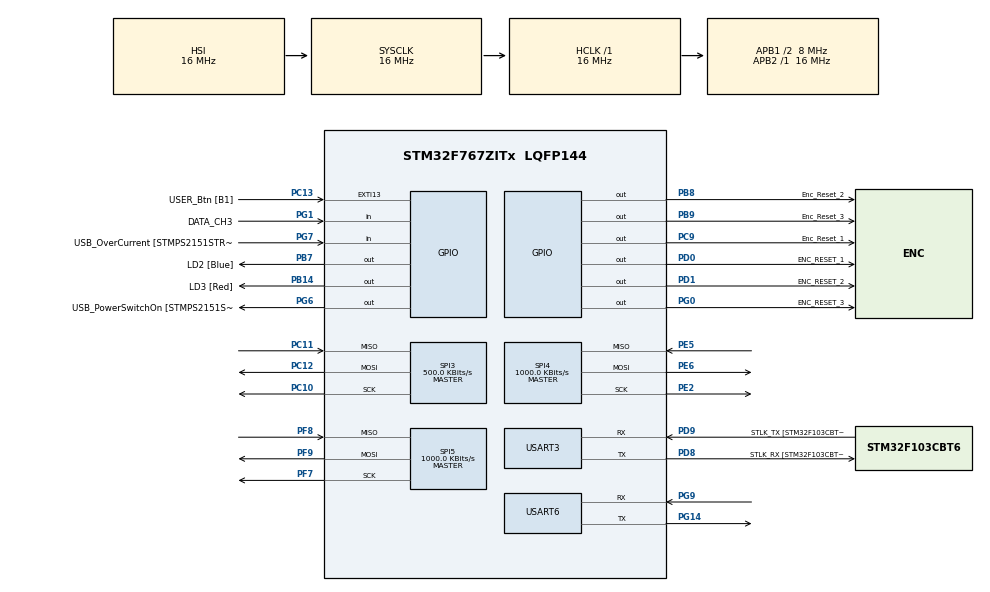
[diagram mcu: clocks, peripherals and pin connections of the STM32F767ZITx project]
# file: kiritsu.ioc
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Mcu.Family=STM32F7
Mcu.Name=STM32F767ZITx
Mcu.Package=LQFP144
NVIC.EXTI15_10_IRQn=true\:0\:0\:false\:false\:true\:true\:true
NVIC.PriorityGroup=NVIC_PRIORITYGROUP_4
NVIC.SPI3_IRQn=true\:0\:0\:false\:false\:true\:true\:true
NVIC.SPI4_IRQn=true\:0\:0\:false\:false\:true\:true\:true
NVIC.SPI5_IRQn=true\:0\:0\:false\:false\:true\:true\:true
NVIC.TIM3_IRQn=true\:0\:0\:false\:false\:true\:true\:true
NVIC.TIM4_IRQn=true\:0\:0\:false\:false\:true\:true\:true
NVIC.USART3_IRQn=true\:0\:0\:false\:false\:true\:true\:true
NVIC.USART6_IRQn=true\:0\:0\:false\:false\:true\:true\:true
PA1.GPIO_Label=RMII_REF_CLK [LAN8742A-CZ-TR_REFCLK0]
PA1.Signal=ETH_REF_CLK
PA10.GPIO_Label=USB_ID
PA10.Signal=USB_OTG_FS_ID
PA11.GPIO_Label=USB_DM
PA11.Signal=USB_OTG_FS_DM
PA12.GPIO_Label=USB_DP
PA12.Signal=USB_OTG_FS_DP
PA13.GPIO_Label=TMS
PA13.Mode=Serial_Wire
PA13.Signal=SYS_JTMS-SWDIO
PA14.GPIO_Label=TCK
PA14.Mode=Serial_Wire
PA14.Signal=SYS_JTCK-SWCLK
PA2.GPIO_Label=RMII_MDIO [LAN8742A-CZ-TR_MDIO]
PA2.Signal=ETH_MDIO
PA7.GPIO_Label=RMII_CRS_DV [LAN8742A-CZ-TR_CRS_DV]
PA7.Signal=ETH_CRS_DV
PA8.GPIO_Label=USB_SOF [TP1]
PA8.Signal=USB_OTG_FS_SOF
PA9.GPIO_Label=USB_VBUS
PA9.Signal=USB_OTG_FS_VBUS
PB13.GPIO_Label=RMII_TXD1 [LAN8742A-CZ-TR_TXD1]
PB13.Signal=ETH_TXD1
PB14.GPIO_Label=LD3 [Red]
PB14.Signal=GPIO_Output
PB3.GPIO_Label=SW0
PB3.Signal=SYS_JTDO-SWO
PB7.GPIO_Label=LD2 [Blue]
PB7.Signal=GPIO_Output
PB8.GPIO_Label=Enc_Reset_2
PB8.PinState=GPIO_PIN_SET
PB8.Signal=GPIO_Output
PB9.GPIO_Label=Enc_Reset_3
PB9.Signal=GPIO_Output
PC1.GPIO_Label=RMII_MDC [LAN8742A-CZ-TR_MDC]
PC1.Signal=ETH_MDC
PC10.Mode=Full_Duplex_Master
PC10.Signal=SPI3_SCK
PC11.Mode=Full_Duplex_Master
PC11.Signal=SPI3_MISO
PC12.Mode=Full_Duplex_Master
PC12.Signal=SPI3_MOSI
PC13.GPIO_Label=USER_Btn [B1]
PC13.Signal=GPXTI13
PC14/OSC32_IN.Signal=RCC_OSC32_IN
PC15/OSC32_OUT.Signal=RCC_OSC32_OUT
PC4.GPIO_Label=RMII_RXD0 [LAN8742A-CZ-TR_RXD0]
PC4.Signal=ETH_RXD0
PC5.GPIO_Label=RMII_RXD1 [LAN8742A-CZ-TR_RXD1]
PC5.Signal=ETH_RXD1
PC9.GPIO_Label=Enc_Reset_1
PC9.PinState=GPIO_PIN_SET
PC9.Signal=GPIO_Output
PD0.GPIO_Label=ENC_RESET_1
PD0.PinState=GPIO_PIN_SET
PD0.Signal=GPIO_Output
PD1.GPIO_Label=ENC_RESET_2
PD1.PinState=GPIO_PIN_SET
PD1.Signal=GPIO_Output
PD8.GPIO_Label=STLK_RX [STM32F103CBT6_PA3]
PD8.Mode=Asynchronous
PD8.Signal=USART3_TX
PD9.GPIO_Label=STLK_TX [STM32F103CBT6_PA2]
PD9.Mode=Asynchronous
PD9.Signal=USART3_RX
PE2.Mode=Full_Duplex_Master
PE2.Signal=SPI4_SCK
PE5.Mode=Full_Duplex_Master
PE5.Signal=SPI4_MISO
PE6.Mode=Full_Duplex_Master
PE6.Signal=SPI4_MOSI
PF7.Mode=Full_Duplex_Master
PF7.Signal=SPI5_SCK
PF8.Mode=Full_Duplex_Master
PF8.Signal=SPI5_MISO
PF9.Mode=Full_Duplex_Master
PF9.Signal=SPI5_MOSI
PG0.GPIO_Label=ENC_RESET_3
PG0.PinState=GPIO_PIN_SET
PG0.Signal=GPIO_Output
PG1.GPIO_Label=DATA_CH3
PG1.Signal=GPIO_Input
PG11.GPIO_Label=RMII_TX_EN [LAN8742A-CZ-TR_TXEN]
PG11.Signal=ETH_TX_EN
PG13.GPIO_Label=RMII_TXD0 [LAN8742A-CZ-TR_TXD0]
PG13.Signal=ETH_TXD0
PG14.Mode=Asynchronous
PG14.Signal=USART6_TX
PG6.GPIO_Label=USB_PowerSwitchOn [STMPS2151STR_EN]
PG6.Signal=GPIO_Output
PG7.GPIO_Label=USB_OverCurrent [STMPS2151STR_FAULT]
PG7.Signal=GPIO_Input
PG9.Mode=Asynchronous
PG9.Signal=USART6_RX
PH0/OSC_IN.GPIO_Label=MCO [STM32F103CBT6_PA8]
PH0/OSC_IN.Signal=RCC_OSC_IN
PH1/OSC_OUT.Signal=RCC_OSC_OUT
ProjectManager.HeapSize=0x200
ProjectManager.StackSize=0x400
ProjectManager.TargetToolchain=SW4STM32
RCC.48MHZClocksFreq_Value=24000000
RCC.AHBFreq_Value=16000000
RCC.APB1CLKDivider=RCC_HCLK_DIV2
RCC.APB1Freq_Value=8000000
RCC.APB1TimFreq_Value=16000000
RCC.APB2Freq_Value=16000000
RCC.APB2TimFreq_Value=16000000
RCC.CortexFreq_Value=16000000
RCC.HCLKFreq_Value=16000000
RCC.HSE_VALUE=16000000
RCC.HSI_VALUE=16000000
RCC.LSE_VALUE=32768
RCC.PLLMUL=RCC_PLL_MUL9
RCC.PRESCALERUSB=RCC_USBCLKSOURCE_PLL_DIV1_5
RCC.SYSCLKFreq_VALUE=16000000
RCC.SYSCLKSourceVirtual=RCC_SYSCLKSOURCE_PLLCLK
RCC.USBFreq_Value=96000000
RCC.VCOOutputFreq_Value=192000000
SPI3.BaudRatePrescaler=SPI_BAUDRATEPRESCALER_16
SPI3.CLKPhase=SPI_PHASE_2EDGE
SPI3.CLKPolarity=SPI_POLARITY_HIGH
SPI3.CalculateBaudRate=500.0 KBits/s
SPI3.DataSize=SPI_DATASIZE_8BIT
SPI3.Direction=SPI_DIRECTION_2LINES
SPI3.Mode=SPI_MODE_MASTER
SPI3.VirtualType=VM_MASTER
SPI4.BaudRatePrescaler=SPI_BAUDRATEPRESCALER_16
SPI4.CLKPhase=SPI_PHASE_2EDGE
SPI4.CLKPolarity=SPI_POLARITY_HIGH
SPI4.CalculateBaudRate=1000.0 KBits/s
SPI4.DataSize=SPI_DATASIZE_8BIT
SPI4.Direction=SPI_DIRECTION_2LINES
SPI4.Mode=SPI_MODE_MASTER
SPI4.VirtualType=VM_MASTER
SPI5.BaudRatePrescaler=SPI_BAUDRATEPRESCALER_16
SPI5.CLKPhase=SPI_PHASE_2EDGE
SPI5.CLKPolarity=SPI_POLARITY_HIGH
SPI5.CalculateBaudRate=1000.0 KBits/s
SPI5.DataSize=SPI_DATASIZE_8BIT
SPI5.Direction=SPI_DIRECTION_2LINES
SPI5.Mode=SPI_MODE_MASTER
SPI5.VirtualType=VM_MASTER
TIM3.Period=1000
TIM3.Prescaler=15999
TIM4.AutoReloadPreload=TIM_AUTORELOAD_PRELOAD_ENABLE
TIM4.Period=2000
TIM4.Prescaler=15999
USART3.VirtualMode-Asynchronous=VM_ASYNC
USART3.WordLength=WORDLENGTH_8B
USART6.VirtualMode-Asynchronous=VM_ASYNC
USART6.WordLength=WORDLENGTH_8B
VP_TIM3_VS_ClockSourceINT.Mode=Internal
VP_TIM4_VS_ClockSourceINT.Mode=Internal
board=NUCLEO-F767ZI

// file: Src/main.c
/* USER CODE BEGIN Header */
/**
  ******************************************************************************
  * @file           : main.c
  * @brief          : Main program body
  ******************************************************************************
  * @attention
  *
  * <h2><center>&copy; Copyright (c) 2019 STMicroelectronics.
  * All rights reserved.</center></h2>
  *
  * This software component is licensed by ST under BSD 3-Clause license,
  * the "License"; You may not use this file except in compliance with the
  * License. You may obtain a copy of the License at:
  *                        opensource.org/licenses/BSD-3-Clause
  *
  ******************************************************************************
  */
/* USER CODE END Header */

#include "main.h"

/* USER CODE BEGIN Includes */
#include <string.h> // strlen
#include <stdlib.h>  // atoi
#include <stdio.h>  // sprintf
#include <math.h>   // sin\cos
/* USER CODE END Includes */

/* USER CODE BEGIN PTD */
typedef enum {
  DATA_FRAME_12 = 12,
  DATA_FRAME_9 = 9,
  DATA_FRAME_BOTH = 0,
  DATA_FRAME_INVALID
} eDATA_FRAME_t;

/* USER CODE END PTD */

/* USER CODE BEGIN PD */
#define DSPACE_USART        USART6
#define TERMINAL_USART      USART3
#define dSpace_huart        huart6
#define terminal_huart      huart3

#define enc1_hspi           hspi4
#define enc2_hspi           hspi3
#define enc3_hspi           hspi5

#define htimer_1s           htim3
#define htimer_2s           htim4

#define MY_PRINT_0(buffer, pString) \
    do {\
        sprintf(buffer, pString);\
        HAL_UART_Transmit(&terminal_huart, (uint8_t *) buffer, strlen(buffer), 5000);\
    } while (0);

#define MY_PRINT_F(buffer, format, ...) \
    do {\
        sprintf(buffer, format, __VA_ARGS__);\
        HAL_UART_Transmit(&terminal_huart, (uint8_t *) buffer, strlen(buffer), 5000);\
    } while (0);

/* USER CODE END PD */

SPI_HandleTypeDef hspi3;
SPI_HandleTypeDef hspi4;
SPI_HandleTypeDef hspi5;

TIM_HandleTypeDef htim3;
TIM_HandleTypeDef htim4;

UART_HandleTypeDef huart3;
UART_HandleTypeDef huart6;

/* USER CODE BEGIN PV */
/* Private variables ---------------------------------------------------------*/

static char buffer[1024];
uint8_t buffer_tx[10] = {69, 77, 67, 85, 46, 69, 85, 13, 10};
volatile uint8_t buffer_rx[2048];
uint8_t received_data, received_data_from_dspace;
volatile uint8_t received_buffer_size = 0;
volatile uint8_t command_handler_request = 0; // 0=NO, 1=Process

volatile int8_t led3_blink = -1;      // 0=OFF, 1=blink, 2=ON
volatile uint8_t dSpace_Alive = 1;    // =0, dSpace is alive, !=0, dSpace is disconnected
volatile uint8_t dSpace_req_data = 0; // =0, dSpace not request data, =1, dSpace requested for data

// Configuration - Variables
uint8_t b_encoder_1_enable = 1;
uint8_t b_encoder_2_enable = 1;
uint8_t b_encoder_3_enable = 1;
uint8_t b_mcu_dspace_enable = 1;
uint8_t b_mcu_pc_terminal_enable = 0;
uint8_t b_setting_mode = 0;
eDATA_FRAME_t data_frame_mcu2termial = DATA_FRAME_9;
int32_t b_frequency_ms = 0;

/* USER CODE END PV */

void SystemClock_Config(void);
static void MX_GPIO_Init(void);
static void MX_SPI3_Init(void);
static void MX_SPI4_Init(void);
static void MX_SPI5_Init(void);
static void MX_USART3_UART_Init(void);
static void MX_USART6_UART_Init(void);
static void MX_TIM3_Init(void);
static void MX_TIM4_Init(void);
/* USER CODE BEGIN PFP */
/* Private function prototypes -----------------------------------------------*/

uint32_t Read_SSI_SPIx(SPI_HandleTypeDef *hspi);
uint32_t raw_data[3];              // Raw-Data of Encoders

// Convert raw_data to an array of byte before sending via USART
int Cal_EncoderData(eDATA_FRAME_t data_frame, uint32_t raw_data[3],
    uint8_t *array_data, int32_t angle_data[3]);

uint8_t array_data[13];            // maximum 13-byte array of data
int32_t angle_data[3];             // angle in degree - scaled 1000x

void Generate_CRCTable();          // make a look-up table of 1-byte CRC
uint8_t crc_table[256];            // CRC look-up table

uint8_t CRCChecksum(uint8_t *data, uint8_t data_len);
uint8_t CRC_Cal = 0;               // Computed CRC

void Cmd_Handler();                // to handle receiption of data to come
void CommandDecoder();             // when a compelete command has been received, this func is to decode it!

/* USER CODE END PFP */

/* USER CODE BEGIN 0 */
// BUTTON Press Interrupt Handler
void HAL_GPIO_EXTI_Callback(uint16_t GPIO_Pin)
{
  if (GPIO_Pin == GPIO_PIN_13)
  {// the RESET button is pressed, it's gonna reset the encode position!
    // To tell the terminal what is gonna to happen
    MY_PRINT_0(buffer, "the RESET buttun is pressed, it's gonna reset the encode position!\n");

    HAL_GPIO_WritePin(LD2_GPIO_Port, LD2_Pin, GPIO_PIN_RESET);   // TURN OFF LED-2

    HAL_GPIO_WritePin(Enc_Reset_1_GPIO_Port, Enc_Reset_1_Pin, GPIO_PIN_SET);
    HAL_GPIO_WritePin(Enc_Reset_2_GPIO_Port, Enc_Reset_2_Pin, GPIO_PIN_SET);
    HAL_GPIO_WritePin(Enc_Reset_3_GPIO_Port, Enc_Reset_3_Pin, GPIO_PIN_SET);
    HAL_Delay(100); // ms
    HAL_GPIO_WritePin(Enc_Reset_1_GPIO_Port, Enc_Reset_1_Pin, GPIO_PIN_RESET);
    HAL_GPIO_WritePin(Enc_Reset_2_GPIO_Port, Enc_Reset_2_Pin, GPIO_PIN_RESET);
    HAL_GPIO_WritePin(Enc_Reset_3_GPIO_Port, Enc_Reset_3_Pin, GPIO_PIN_RESET);
    HAL_Delay(100); // ms

    HAL_GPIO_WritePin(LD2_GPIO_Port, LD2_Pin, GPIO_PIN_SET);   // TURN ON LED-2

    MY_PRINT_0(buffer, "the process of resetting is DONE!\n");
  }

}

// UART RECEIVE Complete Callback
void HAL_UART_RxCpltCallback(UART_HandleTypeDef *huart)
{
///////////////////////////////////////////////////////////////////////////////
// DSpace ~~~~~ UART
///////////////////////////////////////////////////////////////////////////////
  if(huart->Instance == DSPACE_USART)
  {
    if (received_data_from_dspace == 'd') {
        dSpace_Alive = 0; // dSpace is alive!
        dSpace_req_data = 1;
        HAL_GPIO_WritePin(LD2_GPIO_Port, LD2_Pin, GPIO_PIN_SET);
    }
    if (received_data_from_dspace == 'n'){
      dSpace_Alive = 3; // set to allow LED-2 blink
      dSpace_req_data = 1;
    }
    // Waiting for another data to come
    HAL_UART_Receive_IT(&dSpace_huart, &received_data_from_dspace, 1);
  }

///////////////////////////////////////////////////////////////////////////////
// PC-Terminal Connected UART --- NO NEED To care about these lines of code!!//
///////////////////////////////////////////////////////////////////////////////
  if(huart->Instance == TERMINAL_USART)                                      //
  {                                                                          //
    if (received_buffer_size == 0){                                          //
      if (received_data == (uint8_t)'@'){                                    //
        buffer_rx[received_buffer_size] = received_data;                     //
        received_buffer_size += 1;                                           //
        // to start 1-sec time-out waiting timer                             //
        HAL_TIM_Base_Start_IT(&htimer_1s); // start 1s-period timer          //
        // indicating the command has be receiving                           //
        command_handler_request = 0;                                         //
      }                                                                      //
      else {                                                                 //
        // do nothing                                                        //
      }                                                                      //
    }                                                                        //
    else {                                                                   //
      if (received_data == (uint8_t)'#'){                                    //
        buffer_rx[received_buffer_size] = received_data;                     //
        received_buffer_size += 1;                                           //
                                                                             //
        // receive a valid command, then stop time-out timer                 //
        HAL_TIM_Base_Stop_IT(&htimer_1s); // stop timer                      //
        // indicating a command has ben received completely                  //
        command_handler_request = 1;                                         //
      }                                                                      //
      else {                                                                 //
        // Otherwise the special key (@ #) put all into the buffer.          //
        buffer_rx[received_buffer_size] = received_data;                     //
        received_buffer_size += 1;                                           //
      }                                                                      //
    }                                                                        //
    // Waiting for another data to come                                      //
    HAL_UART_Receive_IT(&terminal_huart, &received_data, 1);                 //
  }                                                                          //
///////////////////////////////////////////////////////////////////////////////
}

/* USER CODE END 0 */

int main(void)
{
  /* USER CODE BEGIN 1 */
  int num_byte = -1;
  /* USER CODE END 1 */

  /* MCU Configuration--------------------------------------------------------*/

  /* Reset of all peripherals, Initializes the Flash interface and the Systick. */
  HAL_Init();

  /* Configure the system clock */
  SystemClock_Config();

  /* Initialize all configured peripherals */
  MX_GPIO_Init();
  MX_SPI3_Init();
  MX_SPI4_Init();
  MX_SPI5_Init();
  MX_USART3_UART_Init();
  MX_USART6_UART_Init();
  MX_TIM3_Init();
  MX_TIM4_Init();
  /* USER CODE BEGIN 2 */

  // Generate CRC Checksum Table
  Generate_CRCTable();

  // Initialize TMINAL-UART REceive Complete Interrupt with 1-byte buffer
  HAL_UART_Receive_IT(&terminal_huart, &received_data, 1);

  // Initialize DSPACE-UART REceive Complete Interrupt with 1-byte buffer
  HAL_UART_Receive_IT(&dSpace_huart, &received_data_from_dspace, 1);

  /* USER CODE END 2 */

  /* Infinite loop */
  /* USER CODE BEGIN WHILE */
  HAL_TIM_Base_Start_IT(&htimer_2s); // 2s-period timer start

  while (1) {
    /* USER CODE END WHILE */

    /* USER CODE BEGIN 3 */

    // PC-Terminal Command Handler
    // When PC-Terminal is not gonna to be used, then this function does nothing!
    Cmd_Handler();

    // Read raw-data from encoders
    if ((dSpace_req_data == 1 && b_mcu_dspace_enable == 1)
            || b_mcu_pc_terminal_enable == 1){
#ifdef ENCODERS_HARDWARE_SUPPORT
      if (b_encoder_1_enable == 1)
        raw_data[0] = Read_SSI_SPIx(&enc1_hspi);
      if (b_encoder_2_enable == 1)
        raw_data[1] = Read_SSI_SPIx(&enc2_hspi);
      if (b_encoder_3_enable == 1)
        raw_data[2] = Read_SSI_SPIx(&enc3_hspi);
#else
      raw_data[0] = 0x00102132;
      raw_data[1] = 0x0021AB3E;
      raw_data[2] = 0x00B151D2;
#endif
    }

    // Prepare data and transmit to DSpace
    if (dSpace_req_data == 1 && b_mcu_dspace_enable == 1){
      // convert encoder-data into an array bytes of data
      num_byte = Cal_EncoderData(DATA_FRAME_9, raw_data, array_data, angle_data);
      if (num_byte > 0)
      {
        // Compute CRC code
        CRC_Cal = CRCChecksum(array_data, num_byte);
        // Save the computed CRC into the last element of the array
        array_data[num_byte] = CRC_Cal;
        // Increase the size of the array
        num_byte += 1;
        // Now send the array to dSpace
        HAL_UART_Transmit(&dSpace_huart, array_data, num_byte, 5000);
      }
      // send data to dSpace's been done!
      dSpace_req_data = 0;
    }

///////////////////////////////////////////////////////////////////////////////
// NO NEED To care about these lines of code!!                               //
///////////////////////////////////////////////////////////////////////////////
    // Prepare data and send to Terminal                                     //
    if (b_setting_mode == 0 && b_mcu_pc_terminal_enable == 1){               //
      // convert encoder-data into an array bytes of data                    //
      num_byte = Cal_EncoderData(data_frame_mcu2termial, raw_data,           //
        array_data, angle_data);                                             //
      if (num_byte > 0)                                                      //
      {                                                                      //
      // Compute CRC code                                                    //
        CRC_Cal = CRCChecksum(array_data, num_byte);                         //
        // Save the computed CRC into the last element of the array          //
        array_data[num_byte] = CRC_Cal;                                      //
        // Increase the size of the array                                    //
        num_byte += 1;                                                       //
        // Now send the array to Terminal                                    //
        if (data_frame_mcu2termial == DATA_FRAME_9)                          //
          MY_PRINT_F(buffer, "RAW-[%x,%x,%x]-[%x,%x,%x]-[%x,%x,%x]-CRC(%x)\n",
                  array_data[0], array_data[1], array_data[2],               //
                  array_data[3], array_data[4], array_data[5],               //
                  array_data[6], array_data[7], array_data[8],               //
                  array_data[9]);                                            //
        if (data_frame_mcu2termial == DATA_FRAME_12)                         //
          MY_PRINT_F(buffer, "ANGLESx1000-%ld, %ld, %ld \n",                 //
                          angle_data[0], angle_data[1], angle_data[2]);      //
       }                                                                     //
      if (b_frequency_ms > 0)                                                //
        HAL_Delay(b_frequency_ms);                                           //
    }                                                                        //
///////////////////////////////////////////////////////////////////////////////
  }
  /* USER CODE END 3 */
}

void SystemClock_Config(void)
{
  RCC_OscInitTypeDef RCC_OscInitStruct = {0};
  RCC_ClkInitTypeDef RCC_ClkInitStruct = {0};
  RCC_PeriphCLKInitTypeDef PeriphClkInitStruct = {0};

  /** Configure the main internal regulator output voltage
  */
  __HAL_RCC_PWR_CLK_ENABLE();
  __HAL_PWR_VOLTAGESCALING_CONFIG(PWR_REGULATOR_VOLTAGE_SCALE3);
  /** Initializes the CPU, AHB and APB busses clocks
  */
  RCC_OscInitStruct.OscillatorType = RCC_OSCILLATORTYPE_HSI;
  RCC_OscInitStruct.HSIState = RCC_HSI_ON;
  RCC_OscInitStruct.HSICalibrationValue = RCC_HSICALIBRATION_DEFAULT;
  RCC_OscInitStruct.PLL.PLLState = RCC_PLL_NONE;
  if (HAL_RCC_OscConfig(&RCC_OscInitStruct) != HAL_OK)
  {
    Error_Handler();
  }
  /** Initializes the CPU, AHB and APB busses clocks
  */
  RCC_ClkInitStruct.ClockType = RCC_CLOCKTYPE_HCLK|RCC_CLOCKTYPE_SYSCLK
                              |RCC_CLOCKTYPE_PCLK1|RCC_CLOCKTYPE_PCLK2;
  RCC_ClkInitStruct.SYSCLKSource = RCC_SYSCLKSOURCE_HSI;
  RCC_ClkInitStruct.AHBCLKDivider = RCC_SYSCLK_DIV1;
  RCC_ClkInitStruct.APB1CLKDivider = RCC_HCLK_DIV2;
  RCC_ClkInitStruct.APB2CLKDivider = RCC_HCLK_DIV1;

  if (HAL_RCC_ClockConfig(&RCC_ClkInitStruct, FLASH_LATENCY_0) != HAL_OK)
  {
    Error_Handler();
  }
  PeriphClkInitStruct.PeriphClockSelection = RCC_PERIPHCLK_USART3|RCC_PERIPHCLK_USART6;
  PeriphClkInitStruct.Usart3ClockSelection = RCC_USART3CLKSOURCE_PCLK1;
  PeriphClkInitStruct.Usart6ClockSelection = RCC_USART6CLKSOURCE_PCLK2;
  if (HAL_RCCEx_PeriphCLKConfig(&PeriphClkInitStruct) != HAL_OK)
  {
    Error_Handler();
  }
}

static void MX_SPI3_Init(void)
{

  /* SPI3 parameter configuration*/
  hspi3.Instance = SPI3;
  hspi3.Init.Mode = SPI_MODE_MASTER;
  hspi3.Init.Direction = SPI_DIRECTION_2LINES;
  hspi3.Init.DataSize = SPI_DATASIZE_8BIT;
  hspi3.Init.CLKPolarity = SPI_POLARITY_HIGH;
  hspi3.Init.CLKPhase = SPI_PHASE_2EDGE;
  hspi3.Init.NSS = SPI_NSS_SOFT;
  hspi3.Init.BaudRatePrescaler = SPI_BAUDRATEPRESCALER_16;
  hspi3.Init.FirstBit = SPI_FIRSTBIT_MSB;
  hspi3.Init.TIMode = SPI_TIMODE_DISABLE;
  hspi3.Init.CRCCalculation = SPI_CRCCALCULATION_DISABLE;
  hspi3.Init.CRCPolynomial = 7;
  hspi3.Init.CRCLength = SPI_CRC_LENGTH_DATASIZE;
  hspi3.Init.NSSPMode = SPI_NSS_PULSE_DISABLE;
  if (HAL_SPI_Init(&hspi3) != HAL_OK)
  {
    Error_Handler();
  }

}

static void MX_SPI4_Init(void)
{

  /* SPI4 parameter configuration*/
  hspi4.Instance = SPI4;
  hspi4.Init.Mode = SPI_MODE_MASTER;
  hspi4.Init.Direction = SPI_DIRECTION_2LINES;
  hspi4.Init.DataSize = SPI_DATASIZE_8BIT;
  hspi4.Init.CLKPolarity = SPI_POLARITY_HIGH;
  hspi4.Init.CLKPhase = SPI_PHASE_2EDGE;
  hspi4.Init.NSS = SPI_NSS_SOFT;
  hspi4.Init.BaudRatePrescaler = SPI_BAUDRATEPRESCALER_16;
  hspi4.Init.FirstBit = SPI_FIRSTBIT_MSB;
  hspi4.Init.TIMode = SPI_TIMODE_DISABLE;
  hspi4.Init.CRCCalculation = SPI_CRCCALCULATION_DISABLE;
  hspi4.Init.CRCPolynomial = 7;
  hspi4.Init.CRCLength = SPI_CRC_LENGTH_DATASIZE;
  hspi4.Init.NSSPMode = SPI_NSS_PULSE_DISABLE;
  if (HAL_SPI_Init(&hspi4) != HAL_OK)
  {
    Error_Handler();
  }

}

static void MX_SPI5_Init(void)
{

  /* SPI5 parameter configuration*/
  hspi5.Instance = SPI5;
  hspi5.Init.Mode = SPI_MODE_MASTER;
  hspi5.Init.Direction = SPI_DIRECTION_2LINES;
  hspi5.Init.DataSize = SPI_DATASIZE_8BIT;
  hspi5.Init.CLKPolarity = SPI_POLARITY_HIGH;
  hspi5.Init.CLKPhase = SPI_PHASE_2EDGE;
  hspi5.Init.NSS = SPI_NSS_SOFT;
  hspi5.Init.BaudRatePrescaler = SPI_BAUDRATEPRESCALER_16;
  hspi5.Init.FirstBit = SPI_FIRSTBIT_MSB;
  hspi5.Init.TIMode = SPI_TIMODE_DISABLE;
  hspi5.Init.CRCCalculation = SPI_CRCCALCULATION_DISABLE;
  hspi5.Init.CRCPolynomial = 7;
  hspi5.Init.CRCLength = SPI_CRC_LENGTH_DATASIZE;
  hspi5.Init.NSSPMode = SPI_NSS_PULSE_DISABLE;
  if (HAL_SPI_Init(&hspi5) != HAL_OK)
  {
    Error_Handler();
  }

}

static void MX_TIM3_Init(void)
{

  TIM_ClockConfigTypeDef sClockSourceConfig = {0};
  TIM_MasterConfigTypeDef sMasterConfig = {0};

  htim3.Instance = TIM3;
  htim3.Init.Prescaler = 15999;
  htim3.Init.CounterMode = TIM_COUNTERMODE_UP;
  htim3.Init.Period = 1000;
  htim3.Init.ClockDivision = TIM_CLOCKDIVISION_DIV1;
  htim3.Init.AutoReloadPreload = TIM_AUTORELOAD_PRELOAD_DISABLE;
  if (HAL_TIM_Base_Init(&htim3) != HAL_OK)
  {
    Error_Handler();
  }
  sClockSourceConfig.ClockSource = TIM_CLOCKSOURCE_INTERNAL;
  if (HAL_TIM_ConfigClockSource(&htim3, &sClockSourceConfig) != HAL_OK)
  {
    Error_Handler();
  }
  sMasterConfig.MasterOutputTrigger = TIM_TRGO_RESET;
  sMasterConfig.MasterSlaveMode = TIM_MASTERSLAVEMODE_DISABLE;
  if (HAL_TIMEx_MasterConfigSynchronization(&htim3, &sMasterConfig) != HAL_OK)
  {
    Error_Handler();
  }

}

static void MX_TIM4_Init(void)
{

  TIM_ClockConfigTypeDef sClockSourceConfig = {0};
  TIM_MasterConfigTypeDef sMasterConfig = {0};

  htim4.Instance = TIM4;
  htim4.Init.Prescaler = 15999;
  htim4.Init.CounterMode = TIM_COUNTERMODE_UP;
  htim4.Init.Period = 2000;
  htim4.Init.ClockDivision = TIM_CLOCKDIVISION_DIV1;
  htim4.Init.AutoReloadPreload = TIM_AUTORELOAD_PRELOAD_ENABLE;
  if (HAL_TIM_Base_Init(&htim4) != HAL_OK)
  {
    Error_Handler();
  }
  sClockSourceConfig.ClockSource = TIM_CLOCKSOURCE_INTERNAL;
  if (HAL_TIM_ConfigClockSource(&htim4, &sClockSourceConfig) != HAL_OK)
  {
    Error_Handler();
  }
  sMasterConfig.MasterOutputTrigger = TIM_TRGO_RESET;
  sMasterConfig.MasterSlaveMode = TIM_MASTERSLAVEMODE_DISABLE;
  if (HAL_TIMEx_MasterConfigSynchronization(&htim4, &sMasterConfig) != HAL_OK)
  {
    Error_Handler();
  }

}

static void MX_USART3_UART_Init(void)
{

  huart3.Instance = USART3;
  huart3.Init.BaudRate = 115200;
  huart3.Init.WordLength = UART_WORDLENGTH_8B;
  huart3.Init.StopBits = UART_STOPBITS_1;
  huart3.Init.Parity = UART_PARITY_NONE;
  huart3.Init.Mode = UART_MODE_TX_RX;
  huart3.Init.HwFlowCtl = UART_HWCONTROL_NONE;
  huart3.Init.OverSampling = UART_OVERSAMPLING_16;
  huart3.Init.OneBitSampling = UART_ONE_BIT_SAMPLE_DISABLE;
  huart3.AdvancedInit.AdvFeatureInit = UART_ADVFEATURE_NO_INIT;
  if (HAL_UART_Init(&huart3) != HAL_OK)
  {
    Error_Handler();
  }

}

static void MX_USART6_UART_Init(void)
{

  huart6.Instance = USART6;
  huart6.Init.BaudRate = 115200;
  huart6.Init.WordLength = UART_WORDLENGTH_8B;
  huart6.Init.StopBits = UART_STOPBITS_1;
  huart6.Init.Parity = UART_PARITY_NONE;
  huart6.Init.Mode = UART_MODE_TX_RX;
  huart6.Init.HwFlowCtl = UART_HWCONTROL_NONE;
  huart6.Init.OverSampling = UART_OVERSAMPLING_16;
  huart6.Init.OneBitSampling = UART_ONE_BIT_SAMPLE_DISABLE;
  huart6.AdvancedInit.AdvFeatureInit = UART_ADVFEATURE_NO_INIT;
  if (HAL_UART_Init(&huart6) != HAL_OK)
  {
    Error_Handler();
  }

}

static void MX_GPIO_Init(void)
{
  GPIO_InitTypeDef GPIO_InitStruct = {0};

  /* GPIO Ports Clock Enable */
  __HAL_RCC_GPIOE_CLK_ENABLE();
  __HAL_RCC_GPIOC_CLK_ENABLE();
  __HAL_RCC_GPIOF_CLK_ENABLE();
  __HAL_RCC_GPIOH_CLK_ENABLE();
  __HAL_RCC_GPIOA_CLK_ENABLE();
  __HAL_RCC_GPIOG_CLK_ENABLE();
  __HAL_RCC_GPIOB_CLK_ENABLE();
  __HAL_RCC_GPIOD_CLK_ENABLE();

  /*Configure GPIO pin Output Level */
  HAL_GPIO_WritePin(ENC_RESET_3_GPIO_Port, ENC_RESET_3_Pin, GPIO_PIN_SET);

  /*Configure GPIO pin Output Level */
  HAL_GPIO_WritePin(GPIOB, LD3_Pin|LD2_Pin|Enc_Reset_3_Pin, GPIO_PIN_RESET);

  /*Configure GPIO pin Output Level */
  HAL_GPIO_WritePin(USB_PowerSwitchOn_GPIO_Port, USB_PowerSwitchOn_Pin, GPIO_PIN_RESET);

  /*Configure GPIO pin Output Level */
  HAL_GPIO_WritePin(Enc_Reset_1_GPIO_Port, Enc_Reset_1_Pin, GPIO_PIN_SET);

  /*Configure GPIO pin Output Level */
  HAL_GPIO_WritePin(GPIOD, ENC_RESET_1_Pin|ENC_RESET_2_Pin, GPIO_PIN_SET);

  /*Configure GPIO pin Output Level */
  HAL_GPIO_WritePin(Enc_Reset_2_GPIO_Port, Enc_Reset_2_Pin, GPIO_PIN_SET);

  /*Configure GPIO pin : USER_Btn_Pin */
  GPIO_InitStruct.Pin = USER_Btn_Pin;
  GPIO_InitStruct.Mode = GPIO_MODE_IT_RISING;
  GPIO_InitStruct.Pull = GPIO_NOPULL;
  HAL_GPIO_Init(USER_Btn_GPIO_Port, &GPIO_InitStruct);

  /*Configure GPIO pins : RMII_MDC_Pin RMII_RXD0_Pin RMII_RXD1_Pin */
  GPIO_InitStruct.Pin = RMII_MDC_Pin|RMII_RXD0_Pin|RMII_RXD1_Pin;
  GPIO_InitStruct.Mode = GPIO_MODE_AF_PP;
  GPIO_InitStruct.Pull = GPIO_NOPULL;
  GPIO_InitStruct.Speed = GPIO_SPEED_FREQ_VERY_HIGH;
  GPIO_InitStruct.Alternate = GPIO_AF11_ETH;
  HAL_GPIO_Init(GPIOC, &GPIO_InitStruct);

  /*Configure GPIO pins : RMII_REF_CLK_Pin RMII_MDIO_Pin RMII_CRS_DV_Pin */
  GPIO_InitStruct.Pin = RMII_REF_CLK_Pin|RMII_MDIO_Pin|RMII_CRS_DV_Pin;
  GPIO_InitStruct.Mode = GPIO_MODE_AF_PP;
  GPIO_InitStruct.Pull = GPIO_NOPULL;
  GPIO_InitStruct.Speed = GPIO_SPEED_FREQ_VERY_HIGH;
  GPIO_InitStruct.Alternate = GPIO_AF11_ETH;
  HAL_GPIO_Init(GPIOA, &GPIO_InitStruct);

  /*Configure GPIO pins : ENC_RESET_3_Pin USB_PowerSwitchOn_Pin */
  GPIO_InitStruct.Pin = ENC_RESET_3_Pin|USB_PowerSwitchOn_Pin;
  GPIO_InitStruct.Mode = GPIO_MODE_OUTPUT_PP;
  GPIO_InitStruct.Pull = GPIO_NOPULL;
  GPIO_InitStruct.Speed = GPIO_SPEED_FREQ_LOW;
  HAL_GPIO_Init(GPIOG, &GPIO_InitStruct);

  /*Configure GPIO pins : DATA_CH3_Pin USB_OverCurrent_Pin */
  GPIO_InitStruct.Pin = DATA_CH3_Pin|USB_OverCurrent_Pin;
  GPIO_InitStruct.Mode = GPIO_MODE_INPUT;
  GPIO_InitStruct.Pull = GPIO_NOPULL;
  HAL_GPIO_Init(GPIOG, &GPIO_InitStruct);

  /*Configure GPIO pin : RMII_TXD1_Pin */
  GPIO_InitStruct.Pin = RMII_TXD1_Pin;
  GPIO_InitStruct.Mode = GPIO_MODE_AF_PP;
  GPIO_InitStruct.Pull = GPIO_NOPULL;
  GPIO_InitStruct.Speed = GPIO_SPEED_FREQ_VERY_HIGH;
  GPIO_InitStruct.Alternate = GPIO_AF11_ETH;
  HAL_GPIO_Init(RMII_TXD1_GPIO_Port, &GPIO_InitStruct);

  /*Configure GPIO pins : LD3_Pin LD2_Pin Enc_Reset_2_Pin Enc_Reset_3_Pin */
  GPIO_InitStruct.Pin = LD3_Pin|LD2_Pin|Enc_Reset_2_Pin|Enc_Reset_3_Pin;
  GPIO_InitStruct.Mode = GPIO_MODE_OUTPUT_PP;
  GPIO_InitStruct.Pull = GPIO_NOPULL;
  GPIO_InitStruct.Speed = GPIO_SPEED_FREQ_LOW;
  HAL_GPIO_Init(GPIOB, &GPIO_InitStruct);

  /*Configure GPIO pin : Enc_Reset_1_Pin */
  GPIO_InitStruct.Pin = Enc_Reset_1_Pin;
  GPIO_InitStruct.Mode = GPIO_MODE_OUTPUT_PP;
  GPIO_InitStruct.Pull = GPIO_NOPULL;
  GPIO_InitStruct.Speed = GPIO_SPEED_FREQ_LOW;
  HAL_GPIO_Init(Enc_Reset_1_GPIO_Port, &GPIO_InitStruct);

  /*Configure GPIO pins : USB_SOF_Pin USB_ID_Pin USB_DM_Pin USB_DP_Pin */
  GPIO_InitStruct.Pin = USB_SOF_Pin|USB_ID_Pin|USB_DM_Pin|USB_DP_Pin;
  GPIO_InitStruct.Mode = GPIO_MODE_AF_PP;
  GPIO_InitStruct.Pull = GPIO_NOPULL;
  GPIO_InitStruct.Speed = GPIO_SPEED_FREQ_VERY_HIGH;
  GPIO_InitStruct.Alternate = GPIO_AF10_OTG_FS;
  HAL_GPIO_Init(GPIOA, &GPIO_InitStruct);

  /*Configure GPIO pin : USB_VBUS_Pin */
  GPIO_InitStruct.Pin = USB_VBUS_Pin;
  GPIO_InitStruct.Mode = GPIO_MODE_INPUT;
  GPIO_InitStruct.Pull = GPIO_NOPULL;
  HAL_GPIO_Init(USB_VBUS_GPIO_Port, &GPIO_InitStruct);

  /*Configure GPIO pins : ENC_RESET_1_Pin ENC_RESET_2_Pin */
  GPIO_InitStruct.Pin = ENC_RESET_1_Pin|ENC_RESET_2_Pin;
  GPIO_InitStruct.Mode = GPIO_MODE_OUTPUT_PP;
  GPIO_InitStruct.Pull = GPIO_NOPULL;
  GPIO_InitStruct.Speed = GPIO_SPEED_FREQ_LOW;
  HAL_GPIO_Init(GPIOD, &GPIO_InitStruct);

  /*Configure GPIO pins : RMII_TX_EN_Pin RMII_TXD0_Pin */
  GPIO_InitStruct.Pin = RMII_TX_EN_Pin|RMII_TXD0_Pin;
  GPIO_InitStruct.Mode = GPIO_MODE_AF_PP;
  GPIO_InitStruct.Pull = GPIO_NOPULL;
  GPIO_InitStruct.Speed = GPIO_SPEED_FREQ_VERY_HIGH;
  GPIO_InitStruct.Alternate = GPIO_AF11_ETH;
  HAL_GPIO_Init(GPIOG, &GPIO_InitStruct);

  /* EXTI interrupt init*/
  HAL_NVIC_SetPriority(EXTI15_10_IRQn, 0, 0);
  HAL_NVIC_EnableIRQ(EXTI15_10_IRQn);

}

/* USER CODE BEGIN 4 */

/* Read_SSI_SPIx() Using SPI Interface
 *
 * SPI3_CLK = PC_10, SPI3_MISO = PC_11, SPI3_MOSI = PC_12
 * SPI4_CLK = PE_2, SPI4_MISO = PE_5, SPI4_MOSI = PE_6
 * SPI5_CLK = PF_7, SPI5_MISO = PE_8, SPI5_MOSI = PE_9
 *
 * */
uint32_t Read_SSI_SPIx(SPI_HandleTypeDef *hspi) {
  uint8_t pData[3] = { 0 }; // dummy data
  uint32_t data1 = 0;
  if (HAL_OK == HAL_SPI_TransmitReceive(hspi, pData, pData, 3, 5000)) {
    data1 = ((uint32_t) pData[0] << 16) | ((uint32_t) pData[1] << 8)
        | (uint32_t) pData[2];
  }
  return data1;
}

/**
  * @brief GPIO Initialization Function
  * @param [IN] eDATA_FRAME_t: data_frame (DATA_FRAME)
  * @param [IN] uint32_t raw_data[3]: raw-data of encoders
  * @param [OUT] uint8_t *array_data (not including CRC)
  * @param [OUT] int32_t angle_data[3]
  * @retval int: # of bytes returned
  */
int Cal_EncoderData(eDATA_FRAME_t data_frame, uint32_t raw_data[3], uint8_t *array_data, int32_t angle_data[3])
{
  uint32_t enc_data[3];              // Encoder Data either RAW-DATA or ANGLE-DATA
  int idx = 0, i;
  uint32_t scale = 1000;
  uint32_t value;
  float convert_factor = 0;

  switch (data_frame){
    case DATA_FRAME_12:
      convert_factor = 360.0f * scale / MAX_VALUE_19_BIT;
      for (idx = 0; idx < 3; idx++)
      {
        value = raw_data[idx] & (uint32_t)0x007FFFF0;
        value = value / 16;         // last bit is ERROR bit, value >>= 4
        //enc_data[idx] = value;
        enc_data[idx] = (uint32_t)(value * convert_factor);
        angle_data[idx] = enc_data[idx];
      }
      break;
    case DATA_FRAME_9:
      for (idx = 0; idx < 3; idx++)
      {
        enc_data[idx] = raw_data[idx];
        angle_data[idx] = 0;
      }
      break;
  default:
    return -1;
  }
  idx = 0;

  for (i = 0; i < 3; i++){
    array_data[idx++] = (uint8_t)(enc_data[i] & 0xFF);                   // 1st byte
    array_data[idx++] = (uint8_t)((uint32_t)(enc_data[i]>>8) & 0xFF);    // 2nd byte
    array_data[idx++] = (uint8_t)((uint32_t)(enc_data[i]>>16) & 0xFF);   // 3rd byte
    if (data_frame == DATA_FRAME_12)
      array_data[idx++] = (uint8_t)((uint32_t)(enc_data[i]>>24) & 0xFF); // 4th byte
  }

  return idx;
}

// Generate CRC Checksum Table
void Generate_CRCTable() {
  const uint8_t generator = 0x1D;
  uint8_t currentByte;
  for (int divident = 0; divident < 256; divident++) {
    currentByte = (uint8_t) divident;
    // calculate the CRC-8 value for current byte
    for (uint8_t bit = 0; bit < 8; bit++) {
      if ((currentByte & 0x80) != 0) {
        currentByte <<= 1;
        currentByte ^= generator;
      }
      else {
        currentByte <<= 1;
      }
    }
    // store CRC value in lookup table
    crc_table[divident] = currentByte;
  }
  crc_table[0] = 1;
}

uint8_t CRCChecksum(uint8_t *data, uint8_t data_len){
  uint8_t crc = 0xAB;     // CRC_0
  uint8_t tmp;
  for (int i = 0; i < data_len; i++) {
    tmp = data[i] ^ crc;
    crc = crc_table[tmp];
  }

  return crc;
}

// Command Handler
void Cmd_Handler(){
  uint8_t i = 0;
  if (command_handler_request > 0) {
    if (command_handler_request == 1 && received_buffer_size > 0){
      MY_PRINT_0(buffer, "Command RECEIVED: ");
    }

    // After 1-sec since the starting command '@' has been received, there is no '#' comming
    // in the 1-sec timeout handler, command_handler_request is set to 2.
    if (command_handler_request == 2 && received_buffer_size > 0){
      MY_PRINT_0(buffer, "BAD Command RECEIVED: ");
    }
    // a valid command received
    if (command_handler_request >= 1 && received_buffer_size > 0) {
      for (i = 0; i < received_buffer_size; i++){
        buffer[i] = buffer_rx[i];
      }
      buffer[received_buffer_size] = '\n';
      HAL_UART_Transmit(&terminal_huart, (uint8_t *) buffer, received_buffer_size + 1, 5000);

      // Command Decoder - SOlving here
      CommandDecoder();
    }

    // clear the buffer
    command_handler_request = 0;
    for (i = 0; i < received_buffer_size; i++){ buffer_rx[i] = 0; }
    received_buffer_size = 0;
  }
}

void CommandDecoder()
{
  // Decode the command
  uint8_t cmd_grp = buffer_rx[1];
  uint8_t data_len = buffer_rx[2];
  char data_buff[256];
  uint8_t cmd_sub = 0xFF;
  if (data_len >= 1){
    cmd_sub = buffer_rx[3];
  }
  switch (cmd_grp){
    ////////////////////////////////////////////////////////////////////////////////////
    case '0':
      if (cmd_sub == '0'){ // setting-menu
        MY_PRINT_0(buffer, "@010# : Setting - Mode\n");
        MY_PRINT_0(buffer, "@011# : Running - Mode\n");
        MY_PRINT_0(buffer, "@111# : Turn ON Encoder 1\n");
        MY_PRINT_0(buffer, "@110# : Turn OFF Encoder 1\n");
        MY_PRINT_0(buffer, "@211# : Turn ON Encoder 2\n");
        MY_PRINT_0(buffer, "@210# : Turn OFF Encoder 2\n");
        MY_PRINT_0(buffer, "@311# : Turn ON Encoder 3\n");
        MY_PRINT_0(buffer, "@310# : Turn OFF Encoder 3\n");
        MY_PRINT_0(buffer, "@410# : MCU Sends RAW_DATA to TERMINAL\n");
        MY_PRINT_0(buffer, "@411# : MCU Sends ANGLE_DATA to TERMINAL\n");
        MY_PRINT_0(buffer, "@73100# : Set frequency of 100ms\n");
        MY_PRINT_0(buffer, "@810# : Update Encoders to TERMINAL\n");
        MY_PRINT_0(buffer, "@811# : Stop Updating to TERMINAL\n");
        MY_PRINT_0(buffer, "@910# : Update Encoders to DSpace\n");
        MY_PRINT_0(buffer, "@911# : Stop Updating Encoders to DSpace\n");
        b_setting_mode = 1;
        led3_blink = 1;
      }
      else if (cmd_sub == '1') { // Enter running mode
        MY_PRINT_0(buffer, "Enter Running Mode\n");
        b_setting_mode = 0;
        if (b_mcu_pc_terminal_enable == 1){ // LED3 is ON!
          HAL_GPIO_WritePin(LD3_GPIO_Port, LD3_Pin, GPIO_PIN_SET);
          led3_blink = 2;
        }
        else { // LED3 is OFF!
          HAL_GPIO_WritePin(LD3_GPIO_Port, LD3_Pin, GPIO_PIN_RESET);
          led3_blink = 0;
        }
      }
      else {
        MY_PRINT_F(buffer, "Invalid Command CMD_GRP(%c), CMD_SUB(%c)\n", cmd_grp, cmd_sub);
      }
      break;
    ////////////////////////////////////////////////////////////////////////////////////
    case '1':              // Encoder -1
      if (cmd_sub == '1'){ // turn on
        MY_PRINT_0(buffer, "TURN-ON Encoder-1\n");
        b_encoder_1_enable = 1;
      }
      else if (cmd_sub == '0'){ // turn off
        MY_PRINT_0(buffer, "TURN-OFF Encoder-1\n");
        b_encoder_1_enable = 0;
      }
      else {
        MY_PRINT_F(buffer, "Invalid Command CMD_GRP(%c), CMD_SUB(%c)\n", cmd_grp, cmd_sub);
      }
      break;
    ////////////////////////////////////////////////////////////////////////////////////
    case '2':              // Encoder -2
      if (cmd_sub == '1'){ // turn on
        MY_PRINT_0(buffer, "TURN-ON Encoder-2\n");
        b_encoder_2_enable = 1;
      }
      else if (cmd_sub == '0'){ // turn off
        MY_PRINT_0(buffer, "TURN-OFF Encoder-2\n");
        b_encoder_2_enable = 0;
      }
      else {
        MY_PRINT_F(buffer, "Invalid Command CMD_GRP(%c), CMD_SUB(%c)\n", cmd_grp, cmd_sub);
      }
      break;
    ////////////////////////////////////////////////////////////////////////////////////
    case '3':              // Encoder -3
      if (cmd_sub == '1'){ // turn on
        MY_PRINT_0(buffer, "TURN-ON Encoder-3\n");
        b_encoder_3_enable = 1;
      }
      else if (cmd_sub == '0'){ // turn off
        MY_PRINT_0(buffer, "TURN-OFF Encoder-3\n");
        b_encoder_3_enable = 0;
      }
      else {
        MY_PRINT_F(buffer, "Invalid Command CMD_GRP(%c), CMD_SUB(%c)\n", cmd_grp, cmd_sub);
      }
      break;
    ////////////////////////////////////////////////////////////////////////////////////
    case '4':              // DATA Format
      if (cmd_sub == '0')  { // MCU sends RAW-Data to Terminal
        MY_PRINT_0(buffer, "MCU sends RAW-Data to Terminal\n");
        data_frame_mcu2termial = DATA_FRAME_9;
      }
      else if (cmd_sub == '1')  { // MCU sends ANGLE-Data to Terminal
        MY_PRINT_0(buffer, "MCU sends ANGLE-Data to Terminal\n");
        data_frame_mcu2termial = DATA_FRAME_12;
      }
      else {
        MY_PRINT_F(buffer, "Invalid Command CMD_GRP(%c), CMD_SUB(%c)\n", cmd_grp, cmd_sub);
        data_frame_mcu2termial = DATA_FRAME_INVALID;
      }
      break;
    ////////////////////////////////////////////////////////////////////////////////////
    case '7': // Frequency
      if (data_len <= '9' && data_len >= '0'){ //  maximum of 4-byte frequency
        for (int i = 0; i < data_len - '0'; i++){
            data_buff[i] = buffer_rx[3+i];
        }
        data_buff[data_len - '0'] = '\0';
        b_frequency_ms = atoi(data_buff);
        MY_PRINT_F(buffer, "Frequency is set to %ld (ms)\n", b_frequency_ms);
      }
      else {
        MY_PRINT_F(buffer, "Invalid Command CMD_GRP(%c), data_len(%c)\n", cmd_grp, data_len);
      }
      break;
    ////////////////////////////////////////////////////////////////////////////////////
    case '8': // Update Encoders to Terminal
      if (cmd_sub == '1'){ // Encoder Data is sent to Terminal
        b_mcu_pc_terminal_enable = 1;
        MY_PRINT_0(buffer, "Update Encoders to Terminal\n");
      }
      else if (cmd_sub == '0') {
        b_mcu_pc_terminal_enable = 0;
        MY_PRINT_0(buffer, "Stop Updating Encoders to Terminal\n");
      }
      else {
        MY_PRINT_F(buffer, "Invalid Command CMD_GRP(%c), CMD_SUB(%c)\n", cmd_grp, cmd_sub);
      }
      break;
    ////////////////////////////////////////////////////////////////////////////////////
    case '9': // Update Encoders to DSpace
      if (cmd_sub == '1'){ // Encoder Data is sent to Dspace
        b_mcu_dspace_enable = 1;
        MY_PRINT_0(buffer, "Update Encoders to DSpace\n");
      }
      else if (cmd_sub == '0') {
        b_mcu_dspace_enable = 0;
        MY_PRINT_0(buffer, "Stop Updating Encoders to DSpace\n");
      }
      else {
        MY_PRINT_F(buffer, "Invalid Command CMD_GRP(%c), CMD_SUB(%c)\n", cmd_grp, cmd_sub);
      }
      break;
    ////////////////////////////////////////////////////////////////////////////////////
    default:
        MY_PRINT_F(buffer, "Invalid Command CMD_GRP(%c)\n", cmd_grp);
      break;
  }
}

/* USER CODE END 4 */

void Error_Handler(void)
{
  while(1)
  {
  }
}

/************************ (C) COPYRIGHT STMicroelectronics *****END OF FILE****/
